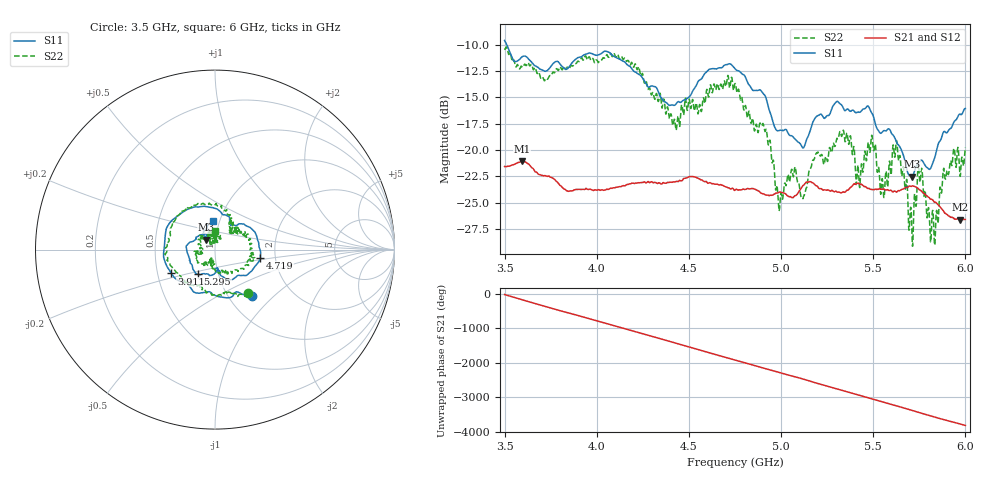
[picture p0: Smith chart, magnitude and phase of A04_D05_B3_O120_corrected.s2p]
! Created with skrf 1.9.0 (http://scikit-rf.org).
# Hz S RI R 50.0
!freq ReS11 ImS11 ReS21 ImS21 ReS12 ImS12 ReS22 ImS22
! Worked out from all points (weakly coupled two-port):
!   1601 points, 3.5 GHz to 6 GHz, reference 50 ohm
!   highest |S21| = -21.07 dB at 3.594 GHz (marker M1); lowest = -26.6 dB at 5.973 GHz (marker M2)
!   lowest |S11| = -22.5 dB at 5.709 GHz (marker M3), VSWR 1.16, Z = 45 + j5.08 ohm
!   |S11| at or under -10 dB: 3.512 GHz to end of sweep
!   |S22| runs from -29.2 to -10.2 dB; largest |S21 - S12| = 0.001
!   S11 on the Smith chart (normalised r, x): 3.5 GHz: 1.28, -0.75; 3.911 GHz: 0.59, -0.17; 4.719 GHz: 1.67, -0.17; 5.295 GHz: 0.80, -0.23; 6 GHz: 0.93, +0.30
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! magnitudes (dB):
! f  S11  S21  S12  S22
! 3.5 GHz  -9.6  -21.6  -21.6  -10.4
! 3.594 GHz  -11.1  -21.1  -21.1  -12.1
! 3.911 GHz  -11.2  -23.8  -23.7  -11.4
! 3.917 GHz  -11.1  -23.8  -23.7  -11.2
! 4.334 GHz  -14.5  -23.1  -23.1  -15.4
! 4.423 GHz  -15.7  -23.0  -23.0  -17.2
! 4.719 GHz  -11.8  -23.6  -23.7  -13.9
! 4.75 GHz  -12.3  -23.8  -23.8  -13.7
! 4.911 GHz  -14.8  -24.2  -24.2  -18.2
! 4.995 GHz  -18.1  -24.0  -24.0  -24.8
! 5.167 GHz  -17.6  -23.1  -23.1  -21.3
! 5.295 GHz  -15.5  -23.9  -23.9  -19.5
! 5.417 GHz  -16.4  -23.2  -23.2  -21.4
! 5.484 GHz  -16.2  -23.7  -23.7  -19.9
! 5.584 GHz  -18.0  -23.9  -23.8  -21.7
! 5.634 GHz  -19.5  -23.9  -23.9  -20.6
! 5.709 GHz  -22.5  -23.4  -23.4  -27.5
! 5.753 GHz  -21.1  -23.8  -23.8  -23.1
! 5.823 GHz  -21.2  -24.8  -24.8  -25.8
! 5.889 GHz  -18.3  -26.0  -26.0  -22.7
! 5.973 GHz  -16.6  -26.6  -26.6  -22.3
! 6 GHz  -16.1  -26.6  -26.6  -19.8
